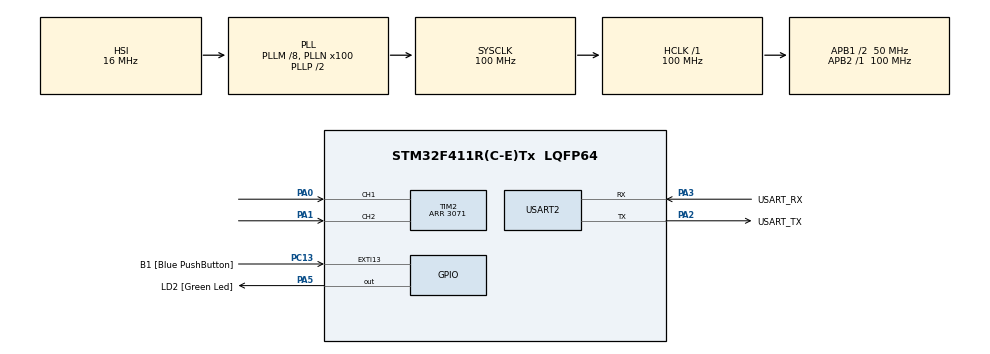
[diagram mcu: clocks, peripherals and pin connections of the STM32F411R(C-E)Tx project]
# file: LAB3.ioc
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Mcu.Family=STM32F4
Mcu.Name=STM32F411R(C-E)Tx
Mcu.Package=LQFP64
NVIC.PriorityGroup=NVIC_PRIORITYGROUP_0
NVIC.TIM1_TRG_COM_TIM11_IRQn=true\:0\:0\:false\:false\:true\:true\:true
NVIC.TIM3_IRQn=true\:0\:0\:false\:false\:true\:true\:true
PA0-WKUP.Signal=S_TIM2_CH1_ETR
PA1.Signal=S_TIM2_CH2
PA13.GPIO_Label=TMS
PA13.Mode=Serial_Wire
PA13.Signal=SYS_JTMS-SWDIO
PA14.GPIO_Label=TCK
PA14.Mode=Serial_Wire
PA14.Signal=SYS_JTCK-SWCLK
PA2.GPIO_Label=USART_TX
PA2.Mode=Asynchronous
PA2.Signal=USART2_TX
PA3.GPIO_Label=USART_RX
PA3.Mode=Asynchronous
PA3.Signal=USART2_RX
PA5.GPIO_Label=LD2 [Green Led]
PA5.Signal=GPIO_Output
PB3.GPIO_Label=SWO
PB3.Signal=SYS_JTDO-SWO
PC13-ANTI_TAMP.GPIO_Label=B1 [Blue PushButton]
PC13-ANTI_TAMP.GPIO_ModeDefaultEXTI=GPIO_MODE_IT_FALLING
PC13-ANTI_TAMP.Signal=GPXTI13
PC14-OSC32_IN.Mode=LSE-External-Oscillator
PC14-OSC32_IN.Signal=RCC_OSC32_IN
PC15-OSC32_OUT.Mode=LSE-External-Oscillator
PC15-OSC32_OUT.Signal=RCC_OSC32_OUT
PH0\ -\ OSC_IN.Mode=HSE-External-Clock-Source
PH0\ -\ OSC_IN.Signal=RCC_OSC_IN
PH1\ -\ OSC_OUT.Mode=HSE-External-Clock-Source
PH1\ -\ OSC_OUT.Signal=RCC_OSC_OUT
ProjectManager.HeapSize=0x200
ProjectManager.StackSize=0x400
ProjectManager.TargetToolchain=STM32CubeIDE
RCC.48MHZClocksFreq_Value=50000000
RCC.AHBFreq_Value=100000000
RCC.APB1CLKDivider=RCC_HCLK_DIV2
RCC.APB1Freq_Value=50000000
RCC.APB1TimFreq_Value=100000000
RCC.APB2Freq_Value=100000000
RCC.APB2TimFreq_Value=100000000
RCC.CortexFreq_Value=100000000
RCC.FLatency-AdvancedSettings=FLASH_LATENCY_3
RCC.HCLKFreq_Value=100000000
RCC.HSE_VALUE=8000000
RCC.HSI_VALUE=16000000
RCC.PLLM=8
RCC.PLLN=100
RCC.SYSCLKFreq_VALUE=100000000
RCC.SYSCLKSource=RCC_SYSCLKSOURCE_PLLCLK
RCC.VCOOutputFreq_Value=200000000
SH.S_TIM2_CH1_ETR.0=TIM2_CH1,Encoder_Interface
SH.S_TIM2_CH2.0=TIM2_CH2,Encoder_Interface
TIM11.Prescaler=99
TIM2.EncoderMode=TIM_ENCODERMODE_TI12
TIM2.Period=3071
TIM3.Period=9999
TIM3.Prescaler=9
USART2.VirtualMode=VM_ASYNC
VP_TIM11_VS_ClockSourceINT.Mode=Enable_Timer
VP_TIM3_VS_ClockSourceINT.Mode=Internal
board=NUCLEO-F411RE

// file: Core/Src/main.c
/* USER CODE BEGIN Header */
/**
  ******************************************************************************
  * @file           : main.c
  * @brief          : Main program body
  ******************************************************************************
  * @attention
  *
  * Copyright (c) 2022 STMicroelectronics.
  * All rights reserved.
  *
  * This software is licensed under terms that can be found in the LICENSE file
  * in the root directory of this software component.
  * If no LICENSE file comes with this software, it is provided AS-IS.
  *
  * Clone From B.Jarunyawat
  * https://github.com/jarunyawat/FRA222/tree/main/lab3
  ******************************************************************************
  */
/* USER CODE END Header */
#include "main.h"

TIM_HandleTypeDef htim2;
TIM_HandleTypeDef htim3;
TIM_HandleTypeDef htim11;

UART_HandleTypeDef huart2;

/* USER CODE BEGIN PV */
uint64_t _micro = 0;
const float dt = 0.001;
double X[3] = { 0 };
double X_l[3] = { 0 };
double P[3][3] = {{1,1,1},{1,1,1},{1,1,1}};
double P_l[3][3] = {{1,1,1},{1,1,1},{1,1,1}};
const double var = 9000;
double Q[3][3] = { {dt*dt*dt*dt*dt*dt*var/36,dt*dt*dt*dt*dt*var/12,dt*dt*dt*dt*var/6}, {
		dt*dt*dt*dt*dt*var/12,dt*dt*dt*dt*var/4,dt*dt*dt*var/2 }, { dt*dt*dt*dt*var/6,dt*dt*dt*var/2,dt*dt*var} };
double R = 0.02;
double z = 0;
double y = 0;
int q[2] = {0};
int step = 0;
int pos[2] = {0};
/* USER CODE END PV */

void SystemClock_Config(void);
static void MX_GPIO_Init(void);
static void MX_USART2_UART_Init(void);
static void MX_TIM2_Init(void);
static void MX_TIM11_Init(void);
static void MX_TIM3_Init(void);
/* USER CODE BEGIN PFP */
uint64_t Micros();
void kalman_func();
/* USER CODE END PFP */

int main(void)
{

  /* MCU Configuration--------------------------------------------------------*/

  /* Reset of all peripherals, Initializes the Flash interface and the Systick. */
  HAL_Init();

  /* Configure the system clock */
  SystemClock_Config();

  /* Initialize all configured peripherals */
  MX_GPIO_Init();
  MX_USART2_UART_Init();
  MX_TIM2_Init();
  MX_TIM11_Init();
  MX_TIM3_Init();
  /* USER CODE BEGIN 2 */
  HAL_TIM_Base_Start_IT (&htim3);
  HAL_TIM_Base_Start_IT (&htim11);
  	HAL_TIM_Encoder_Start(&htim2, TIM_CHANNEL_ALL);
  	q[0]=TIM2->CNT;
  	q[1]=q[0];
  /* USER CODE END 2 */

  /* Infinite loop */
  while (1)
  {

  }
}

void SystemClock_Config(void)
{
  RCC_OscInitTypeDef RCC_OscInitStruct = {0};
  RCC_ClkInitTypeDef RCC_ClkInitStruct = {0};

  /** Configure the main internal regulator output voltage
  */
  __HAL_RCC_PWR_CLK_ENABLE();
  __HAL_PWR_VOLTAGESCALING_CONFIG(PWR_REGULATOR_VOLTAGE_SCALE1);
  /** Initializes the RCC Oscillators according to the specified parameters
  * in the RCC_OscInitTypeDef structure.
  */
  RCC_OscInitStruct.OscillatorType = RCC_OSCILLATORTYPE_HSI;
  RCC_OscInitStruct.HSIState = RCC_HSI_ON;
  RCC_OscInitStruct.HSICalibrationValue = RCC_HSICALIBRATION_DEFAULT;
  RCC_OscInitStruct.PLL.PLLState = RCC_PLL_ON;
  RCC_OscInitStruct.PLL.PLLSource = RCC_PLLSOURCE_HSI;
  RCC_OscInitStruct.PLL.PLLM = 8;
  RCC_OscInitStruct.PLL.PLLN = 100;
  RCC_OscInitStruct.PLL.PLLP = RCC_PLLP_DIV2;
  RCC_OscInitStruct.PLL.PLLQ = 4;
  if (HAL_RCC_OscConfig(&RCC_OscInitStruct) != HAL_OK)
  {
    Error_Handler();
  }
  /** Initializes the CPU, AHB and APB buses clocks
  */
  RCC_ClkInitStruct.ClockType = RCC_CLOCKTYPE_HCLK|RCC_CLOCKTYPE_SYSCLK
                              |RCC_CLOCKTYPE_PCLK1|RCC_CLOCKTYPE_PCLK2;
  RCC_ClkInitStruct.SYSCLKSource = RCC_SYSCLKSOURCE_PLLCLK;
  RCC_ClkInitStruct.AHBCLKDivider = RCC_SYSCLK_DIV1;
  RCC_ClkInitStruct.APB1CLKDivider = RCC_HCLK_DIV2;
  RCC_ClkInitStruct.APB2CLKDivider = RCC_HCLK_DIV1;

  if (HAL_RCC_ClockConfig(&RCC_ClkInitStruct, FLASH_LATENCY_3) != HAL_OK)
  {
    Error_Handler();
  }
}

static void MX_TIM2_Init(void)
{

  TIM_Encoder_InitTypeDef sConfig = {0};
  TIM_MasterConfigTypeDef sMasterConfig = {0};

  htim2.Instance = TIM2;
  htim2.Init.Prescaler = 0;
  htim2.Init.CounterMode = TIM_COUNTERMODE_UP;
  htim2.Init.Period = 3071;
  htim2.Init.ClockDivision = TIM_CLOCKDIVISION_DIV1;
  htim2.Init.AutoReloadPreload = TIM_AUTORELOAD_PRELOAD_DISABLE;
  sConfig.EncoderMode = TIM_ENCODERMODE_TI12;
  sConfig.IC1Polarity = TIM_ICPOLARITY_RISING;
  sConfig.IC1Selection = TIM_ICSELECTION_DIRECTTI;
  sConfig.IC1Prescaler = TIM_ICPSC_DIV1;
  sConfig.IC1Filter = 0;
  sConfig.IC2Polarity = TIM_ICPOLARITY_RISING;
  sConfig.IC2Selection = TIM_ICSELECTION_DIRECTTI;
  sConfig.IC2Prescaler = TIM_ICPSC_DIV1;
  sConfig.IC2Filter = 0;
  if (HAL_TIM_Encoder_Init(&htim2, &sConfig) != HAL_OK)
  {
    Error_Handler();
  }
  sMasterConfig.MasterOutputTrigger = TIM_TRGO_RESET;
  sMasterConfig.MasterSlaveMode = TIM_MASTERSLAVEMODE_DISABLE;
  if (HAL_TIMEx_MasterConfigSynchronization(&htim2, &sMasterConfig) != HAL_OK)
  {
    Error_Handler();
  }

}

static void MX_TIM3_Init(void)
{

  TIM_ClockConfigTypeDef sClockSourceConfig = {0};
  TIM_MasterConfigTypeDef sMasterConfig = {0};

  htim3.Instance = TIM3;
  htim3.Init.Prescaler = 9;
  htim3.Init.CounterMode = TIM_COUNTERMODE_UP;
  htim3.Init.Period = 9999;
  htim3.Init.ClockDivision = TIM_CLOCKDIVISION_DIV1;
  htim3.Init.AutoReloadPreload = TIM_AUTORELOAD_PRELOAD_DISABLE;
  if (HAL_TIM_Base_Init(&htim3) != HAL_OK)
  {
    Error_Handler();
  }
  sClockSourceConfig.ClockSource = TIM_CLOCKSOURCE_INTERNAL;
  if (HAL_TIM_ConfigClockSource(&htim3, &sClockSourceConfig) != HAL_OK)
  {
    Error_Handler();
  }
  sMasterConfig.MasterOutputTrigger = TIM_TRGO_RESET;
  sMasterConfig.MasterSlaveMode = TIM_MASTERSLAVEMODE_DISABLE;
  if (HAL_TIMEx_MasterConfigSynchronization(&htim3, &sMasterConfig) != HAL_OK)
  {
    Error_Handler();
  }

}

static void MX_TIM11_Init(void)
{

  htim11.Instance = TIM11;
  htim11.Init.Prescaler = 99;
  htim11.Init.CounterMode = TIM_COUNTERMODE_UP;
  htim11.Init.Period = 65535;
  htim11.Init.ClockDivision = TIM_CLOCKDIVISION_DIV1;
  htim11.Init.AutoReloadPreload = TIM_AUTORELOAD_PRELOAD_DISABLE;
  if (HAL_TIM_Base_Init(&htim11) != HAL_OK)
  {
    Error_Handler();
  }

}

static void MX_USART2_UART_Init(void)
{

  huart2.Instance = USART2;
  huart2.Init.BaudRate = 115200;
  huart2.Init.WordLength = UART_WORDLENGTH_8B;
  huart2.Init.StopBits = UART_STOPBITS_1;
  huart2.Init.Parity = UART_PARITY_NONE;
  huart2.Init.Mode = UART_MODE_TX_RX;
  huart2.Init.HwFlowCtl = UART_HWCONTROL_NONE;
  huart2.Init.OverSampling = UART_OVERSAMPLING_16;
  if (HAL_UART_Init(&huart2) != HAL_OK)
  {
    Error_Handler();
  }

}

static void MX_GPIO_Init(void)
{
  GPIO_InitTypeDef GPIO_InitStruct = {0};

  /* GPIO Ports Clock Enable */
  __HAL_RCC_GPIOC_CLK_ENABLE();
  __HAL_RCC_GPIOH_CLK_ENABLE();
  __HAL_RCC_GPIOA_CLK_ENABLE();
  __HAL_RCC_GPIOB_CLK_ENABLE();

  /*Configure GPIO pin Output Level */
  HAL_GPIO_WritePin(LD2_GPIO_Port, LD2_Pin, GPIO_PIN_RESET);

  /*Configure GPIO pin : B1_Pin */
  GPIO_InitStruct.Pin = B1_Pin;
  GPIO_InitStruct.Mode = GPIO_MODE_IT_FALLING;
  GPIO_InitStruct.Pull = GPIO_NOPULL;
  HAL_GPIO_Init(B1_GPIO_Port, &GPIO_InitStruct);

  /*Configure GPIO pin : LD2_Pin */
  GPIO_InitStruct.Pin = LD2_Pin;
  GPIO_InitStruct.Mode = GPIO_MODE_OUTPUT_PP;
  GPIO_InitStruct.Pull = GPIO_NOPULL;
  GPIO_InitStruct.Speed = GPIO_SPEED_FREQ_LOW;
  HAL_GPIO_Init(LD2_GPIO_Port, &GPIO_InitStruct);

}

/* USER CODE BEGIN 4 */

void kalman_func(){
		q[0] = TIM2->CNT;
		if(q[0]-q[1]<-1000){
			step+=3071;
		}
		else if(q[0]-q[1]>=1000){
			step-=3071;
		}
		pos[0] = q[0] + step;
		//predict
		X[0] = X_l[0] + X_l[1] * dt + 0.5 * X_l[2] * dt * dt;
		X[1] = X_l[1] + X_l[2] * dt;
		X[2] = X_l[2];
		P[0][0] = P_l[0][0] + P_l[1][0] * dt + 0.5 * P_l[2][0] * dt * dt
				+ dt
						* (P_l[0][1] + P_l[1][1] * dt
								+ 0.5 * P_l[2][1] * dt * dt)
				+ 0.5 * dt * dt
						* (P_l[0][2] + P_l[1][2] * dt
								+ 0.5 * P_l[2][2] * dt * dt) + Q[0][0];
		P[1][0] = P_l[1][0] + P_l[2][0] * dt
				+ dt * (P_l[1][1] + P_l[2][1] * dt)
				+ 0.5 * dt * dt * (P_l[1][2] + P_l[2][2] * dt) + Q[1][0];
		P[2][0] = P_l[2][0] + P_l[2][1] * dt + 0.5 * dt * dt * P_l[2][2]
				+ Q[2][0];
		P[0][1] = P_l[0][1] + P_l[1][1] * dt + 0.5 * dt * dt * P_l[2][1]
				+ dt
						* (P_l[0][2] + P_l[1][2] * dt
								+ 0.5 * dt * dt * P_l[2][2]) + Q[0][1];
		P[1][1] = P_l[1][1] + P_l[2][1] * dt + P_l[1][2] * dt
				+ 0.5 * dt * dt * P_l[2][2] + Q[1][1];
		P[2][1] = P_l[2][1] + P_l[2][2] * dt + Q[2][1];
		P[0][2] = P_l[0][2] + P_l[1][2] * dt + 0.5 * dt * dt * P_l[2][2]
				+ Q[0][2];
		P[1][2] = P_l[1][2] + dt * P_l[2][2] + Q[1][2];
		P[2][2] = P_l[2][2] + Q[2][2];
		//correct
		z = (pos[0] - pos[1]) / dt;
		y = z - X[1];
		double s = P[1][1] + R;
		double K[] = { P[0][1] / s, P[1][1] / s, P[2][1] / s };
		X_l[0] = X[0] + K[0] * y;
		X_l[1] = X[1] + K[1] * y;
		X_l[2] = X[2] + K[2] * y;
		P_l[0][0] = P[0][0] - (P[0][1] * P[1][0]) / (P[1][1] + R);
		P_l[1][0] = P[1][0] - (P[1][0] * P[1][1]) / (P[1][1] + R);
		P_l[2][0] = P[2][0] - (P[1][0] * P[2][1]) / (P[1][1] + R);
		P_l[0][1] = P[0][1] - (P[0][1] * P[1][1]) / (P[1][1] + R);
		P_l[1][1] = P[1][1] - (P[1][1] * P[1][1]) / (P[1][1] + R);
		P_l[2][1] = P[2][1] - (P[1][1] * P[2][1]) / (P[1][1] + R);
		P_l[0][2] = P[0][2] - (P[0][1] * P[1][2]) / (P[1][1] + R);
		P_l[1][2] = P[1][2] - (P[1][1] * P[1][2]) / (P[1][1] + R);
		P_l[2][2] = P[2][2] - (P[1][2] * P[2][1]) / (P[1][1] + R);
		q[1] = q[0];
		pos[1] = pos[0];
}

void HAL_TIM_PeriodElapsedCallback(TIM_HandleTypeDef *htim) {
	if (htim == &htim11) {
		_micro += 65535;
	}

	if (htim == &htim3) {
			kalman_func();
		}
}

uint64_t Micros(){
	return _micro + TIM11->CNT;
}
/* USER CODE END 4 */

void Error_Handler(void)
{
  __disable_irq();
  while (1)
  {
  }
}
